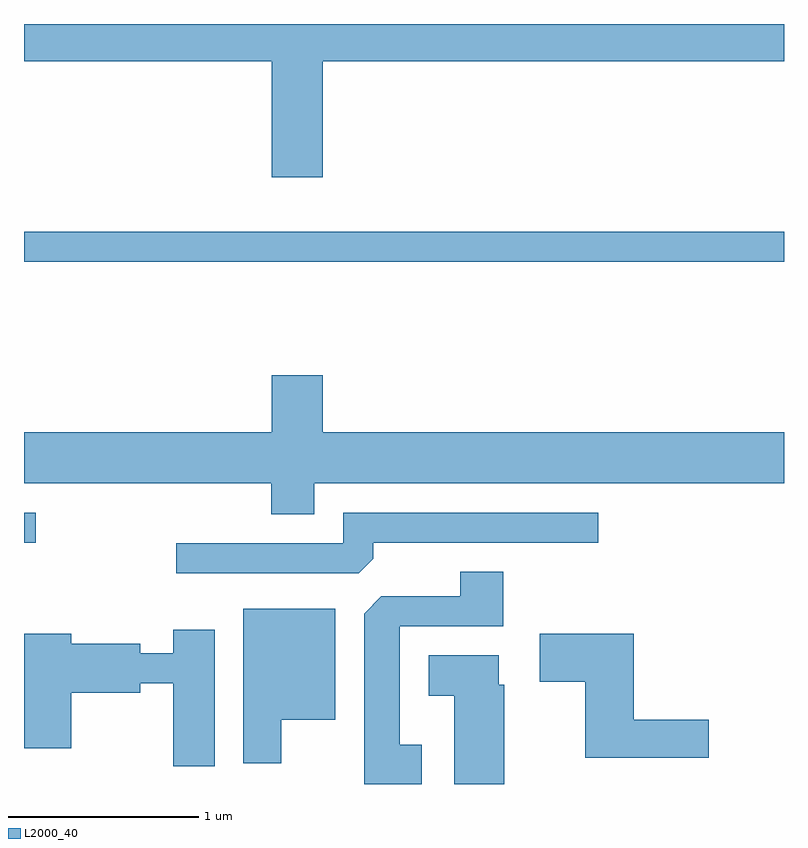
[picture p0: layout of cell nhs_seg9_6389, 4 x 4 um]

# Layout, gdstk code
import gdstk
lib = gdstk.Library(unit=1e-6, precision=1e-09)
def R(c, l, rs):  # rectangles x0, y0, x1, y1
    for r in rs: c.add(gdstk.rectangle(r[:2], r[2:], *l))
def P(c, l, *ps):  # polygons
    for p in ps: c.add(gdstk.Polygon(p, *l))
L2000_40 = (2000, 40)

nhs_seg9_6389 = lib.new_cell('nhs_seg9_6389')
R(nhs_seg9_6389, L2000_40, [(373.611,2013.701,373.673,2013.859), (373.611,2015.181,377.611,2015.339)])
P(nhs_seg9_6389, L2000_40, [(375.184,2016.236),(377.611,2016.236),(377.611,2016.432),(373.611,2016.432),(373.611,2016.236),(374.916,2016.236),(374.916,2015.626),(375.184,2015.626)],
  [(375.139,2014.016),(377.611,2014.016),(377.611,2014.284),(375.184,2014.284),(375.184,2014.584),(374.916,2014.584),(374.916,2014.284),(373.611,2014.284),(373.611,2014.016),(374.911,2014.016),(374.911,2013.851),(375.139,2013.851)],
  [(375.449,2013.617),(375.449,2013.701),(376.633,2013.701),(376.633,2013.859),(375.291,2013.859),(375.291,2013.699),(374.413,2013.699),(374.413,2013.541),(375.374,2013.541)],
  [(375.704,2012.639),(375.589,2012.639),(375.589,2013.261),(376.134,2013.261),(376.134,2013.549),(375.906,2013.549),(375.906,2013.419),(375.492,2013.419),(375.401,2013.329),(375.401,2012.432),(375.704,2012.432)],
  [(374.964,2012.771),(375.249,2012.771),(375.249,2013.354),(374.766,2013.354),(374.766,2012.541),(374.964,2012.541)],
  [(374.614,2013.244),(374.396,2013.244),(374.396,2013.119),(374.224,2013.119),(374.224,2013.169),(373.859,2013.169),(373.859,2013.224),(373.611,2013.224),(373.611,2012.621),(373.859,2012.621),(373.859,2012.911),(374.224,2012.911),(374.224,2012.961),(374.396,2012.961),(374.396,2012.526),(374.614,2012.526)],
  [(377.214,2012.769),(376.819,2012.769),(376.819,2013.224),(376.326,2013.224),(376.326,2012.971),(376.566,2012.971),(376.566,2012.571),(377.214,2012.571)],
  [(376.139,2012.954),(376.109,2012.954),(376.109,2013.109),(375.741,2013.109),(375.741,2012.896),(375.876,2012.896),(375.876,2012.432),(376.139,2012.432)])

lib.write_gds('nhs_seg9_6389.gds')
